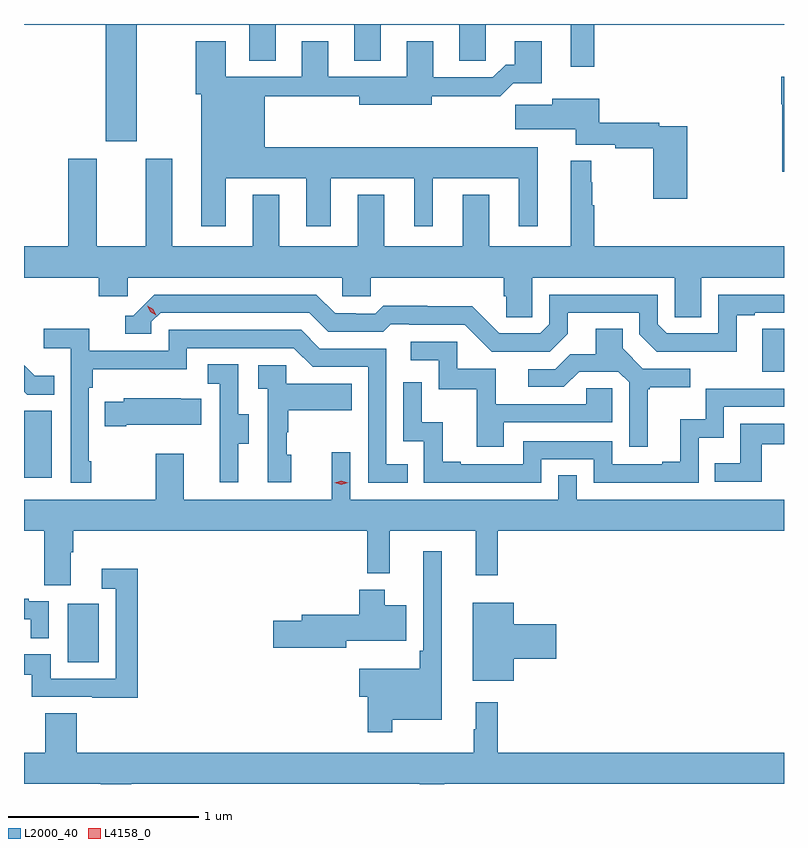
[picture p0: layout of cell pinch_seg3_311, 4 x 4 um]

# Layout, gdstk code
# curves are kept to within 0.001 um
import gdstk
lib = gdstk.Library(unit=1e-6, precision=1e-09)
def R(c, l, rs):  # rectangles x0, y0, x1, y1
    for r in rs: c.add(gdstk.rectangle(r[:2], r[2:], *l))
def P(c, l, *ps):  # polygons
    for p in ps: c.add(gdstk.Polygon(p, *l))
L2000_40 = (2000, 40)
L4158_0 = (4158, 0)

pinch_seg3_311 = lib.new_cell('pinch_seg3_311')
R(pinch_seg3_311, L2000_40, [(993.422,706.884,993.586,707.191), (993.193,707.856,993.34,708.207), (997.079,708.414,997.193,708.638)])
P(pinch_seg3_311, L2000_40, [(993.787,710.24),(994.379,710.24),(994.379,710.05),(994.519,710.05),(994.519,710.24),(994.931,710.24),(994.931,710.05),(995.071,710.05),(995.071,710.24),(995.483,710.24),(995.483,710.05),(995.622,710.05),(995.622,710.24),(996.071,710.24),(996.071,710.019),(996.193,710.019),(996.193,710.24),(997.193,710.24),(997.193,710.243),(993.193,710.243),(993.193,710.24),(993.623,710.24),(993.623,709.626),(993.787,709.626)],
  [(994.255,709.43),(994.679,709.43),(994.679,709.179),(994.807,709.179),(994.807,709.43),(995.246,709.43),(995.246,709.179),(995.344,709.179),(995.344,709.43),(995.798,709.43),(995.798,709.179),(995.896,709.179),(995.896,709.594),(994.459,709.594),(994.459,709.864),(994.958,709.864),(994.958,709.817),(995.338,709.817),(995.338,709.862),(995.699,709.862),(995.768,709.931),(995.917,709.931),(995.917,710.152),(995.777,710.152),(995.777,710.029),(995.728,710.029),(995.661,709.962),(995.347,709.962),(995.347,710.152),(995.207,710.152),(995.207,709.965),(994.795,709.965),(994.795,710.152),(994.655,710.152),(994.655,709.965),(994.255,709.965),(994.255,710.152),(994.096,710.152),(994.096,709.872),(994.127,709.872),(994.127,709.179),(994.255,709.179)],
  [(997.193,709.965),(997.178,709.965),(997.178,709.821),(997.184,709.821),(997.184,709.466),(997.193,709.466)],
  [(996.683,709.704),(996.536,709.704),(996.536,709.724),(996.221,709.724),(996.221,709.849),(995.972,709.849),(995.972,709.817),(995.778,709.817),(995.778,709.688),(996.098,709.688),(996.098,709.608),(996.304,709.608),(996.304,709.588),(996.505,709.588),(996.505,709.323),(996.683,709.323)],
  [(995.868,708.908),(996.618,708.908),(996.618,708.7),(996.757,708.7),(996.757,708.908),(997.193,708.908),(997.193,709.072),(996.193,709.072),(996.193,709.289),(996.185,709.289),(996.185,709.409),(996.178,709.409),(996.178,709.522),(996.071,709.522),(996.071,709.072),(995.641,709.072),(995.641,709.345),(995.501,709.345),(995.501,709.072),(995.089,709.072),(995.089,709.345),(994.949,709.345),(994.949,709.072),(994.537,709.072),(994.537,709.345),(994.397,709.345),(994.397,709.072),(993.973,709.072),(993.973,709.534),(993.833,709.534),(993.833,709.072),(993.577,709.072),(993.577,709.534),(993.425,709.534),(993.425,709.072),(993.193,709.072),(993.193,708.908),(993.587,708.908),(993.587,708.81),(993.738,708.81),(993.738,708.908),(994.869,708.908),(994.869,708.81),(995.019,708.81),(995.019,708.908),(995.717,708.908),(995.717,708.81),(995.731,708.81),(995.731,708.7),(995.868,708.7)],
  [(996.943,708.711),(997.039,708.711),(997.039,708.723),(997.193,708.723),(997.193,708.819),(996.846,708.819),(996.846,708.615),(996.576,708.615),(996.528,708.663),(996.528,708.819),(995.958,708.819),(995.958,708.663),(995.91,708.615),(995.694,708.615),(995.552,708.757),(995.316,708.757),(995.316,708.76),(995.083,708.76),(995.041,708.717),(994.938,708.717),(994.938,708.72),(994.831,708.72),(994.732,708.819),(993.879,708.819),(993.768,708.708),(993.725,708.708),(993.725,708.612),(993.864,708.612),(993.864,708.675),(993.912,708.723),(994.695,708.723),(994.794,708.624),(995.083,708.624),(995.122,708.663),(995.221,708.663),(995.221,708.66),(995.514,708.66),(995.655,708.519),(995.961,708.519),(996.055,708.613),(996.055,708.723),(996.432,708.723),(996.432,708.609),(996.522,708.519),(996.943,708.518)],
  [(993.547,707.941),(993.534,707.941),(993.534,708.329),(993.554,708.329),(993.554,708.425),(994.05,708.425),(994.05,708.537),(994.614,708.537),(994.713,708.438),(995.004,708.438),(995.004,707.829),(995.213,707.829),(995.213,707.925),(995.1,707.925),(995.1,708.534),(994.75,708.534),(994.651,708.633),(993.954,708.633),(993.954,708.522),(993.536,708.522),(993.536,708.638),(993.297,708.638),(993.297,708.536),(993.438,708.536),(993.438,707.829),(993.547,707.829)],
  [(996.475,708.321),(996.487,708.321),(996.487,708.332),(996.7,708.332),(996.7,708.429),(996.45,708.429),(996.343,708.536),(996.343,708.638),(996.203,708.638),(996.203,708.506),(996.068,708.506),(995.988,708.426),(995.847,708.426),(995.847,708.333),(996.034,708.333),(996.115,708.414),(996.321,708.414),(996.378,708.357),(996.378,708.018),(996.475,708.018)],
  [(995.719,708.147),(996.288,708.147),(996.288,708.327),(996.151,708.327),(996.151,708.243),(995.677,708.243),(995.677,708.429),(995.472,708.429),(995.472,708.57),(995.229,708.57),(995.229,708.474),(995.376,708.474),(995.376,708.321),(995.575,708.321),(995.575,708.018),(995.719,708.018)],
  [(994.321,708.034),(994.375,708.034),(994.375,708.189),(994.32,708.189),(994.32,708.452),(994.161,708.452),(994.161,708.349),(994.224,708.349),(994.224,708.045),(994.223,708.045),(994.223,707.832),(994.321,707.832)],
  [(994.6,707.976),(994.575,707.976),(994.575,708.095),(994.585,708.095),(994.585,708.209),(994.919,708.209),(994.919,708.349),(994.572,708.349),(994.572,708.447),(994.425,708.447),(994.425,708.323),(994.476,708.323),(994.476,707.832),(994.6,707.832)],
  [(993.353,708.391),(993.249,708.391),(993.193,708.447),(993.193,708.308),(993.209,708.292),(993.353,708.292)],
  [(995.916,707.952),(996.192,707.952),(996.192,707.829),(996.744,707.829),(996.744,708.065),(996.876,708.065),(996.876,708.228),(997.193,708.228),(997.193,708.324),(996.78,708.324),(996.78,708.163),(996.647,708.163),(996.647,707.938),(996.551,707.938),(996.551,707.925),(996.288,707.925),(996.288,708.048),(995.82,708.048),(995.82,707.925),(995.491,707.925),(995.491,707.938),(995.396,707.938),(995.396,708.146),(995.286,708.146),(995.286,708.358),(995.19,708.358),(995.19,708.048),(995.298,708.048),(995.298,707.829),(995.916,707.829)],
  [(993.73,708.134),(994.127,708.134),(994.127,708.271),(994.019,708.271),(994.019,708.274),(993.717,708.274),(993.717,708.256),(993.619,708.256),(993.619,708.127),(993.73,708.127)],
  [(997.075,708.03),(997.193,708.03),(997.193,708.138),(996.964,708.138),(996.964,707.932),(996.829,707.932),(996.829,707.835),(997.075,707.835)],
  [(993.439,707.464),(993.452,707.464),(993.452,707.576),(994.999,707.576),(994.999,707.351),(995.117,707.351),(995.117,707.576),(995.57,707.576),(995.57,707.343),(995.687,707.343),(995.687,707.576),(997.193,707.576),(997.193,707.74),(996.102,707.74),(996.102,707.867),(996.006,707.867),(996.006,707.74),(994.911,707.74),(994.911,707.989),(994.814,707.989),(994.814,707.74),(994.033,707.74),(994.033,707.98),(993.886,707.98),(993.886,707.74),(993.193,707.74),(993.193,707.576),(993.299,707.576),(993.299,707.29),(993.439,707.29)],
  [(995.131,706.58),(995.392,706.58),(995.392,707.467),(995.295,707.467),(995.295,706.945),(995.275,706.945),(995.275,706.849),(994.958,706.849),(994.958,706.702),(995.002,706.702),(995.002,706.515),(995.131,706.515)],
  [(993.791,707.377),(993.603,707.377),(993.603,707.271),(993.675,707.271),(993.675,706.797),(993.333,706.797),(993.333,706.926),(993.193,706.926),(993.193,706.818),(993.235,706.818),(993.235,706.701),(993.553,706.701),(993.553,706.696),(993.791,706.696)],
  [(994.89,706.997),(995.206,706.997),(995.206,707.185),(995.092,707.185),(995.092,707.266),(994.958,707.266),(994.958,707.133),(994.655,707.133),(994.655,707.103),(994.506,707.103),(994.506,706.961),(994.89,706.961)],
  [(993.324,707.205),(993.218,707.205),(993.218,707.218),(993.193,707.218),(993.193,707.109),(993.229,707.109),(993.229,707.011),(993.324,707.011)],
  [(995.77,706.901),(995.995,706.901),(995.995,707.084),(995.77,707.084),(995.77,707.197),(995.555,707.197),(995.555,706.787),(995.77,706.787)],
  [(993.758,706.244),(995.275,706.244),(995.275,706.243),(995.404,706.243),(995.404,706.244),(997.193,706.244),(997.193,706.408),(995.687,706.408),(995.687,706.672),(995.57,706.672),(995.57,706.532),(995.559,706.532),(995.559,706.408),(993.47,706.408),(993.47,706.616),(993.305,706.616),(993.305,706.408),(993.193,706.408),(993.193,706.244),(993.598,706.244),(993.598,706.243),(993.758,706.243)])
P(pinch_seg3_311, L4158_0, [(994.864,707.819),(994.829,707.828),(994.828,707.829),(994.829,707.829),(994.864,707.839),(994.899,707.829),(994.9,707.829),(994.899,707.828)],
  [(993.888,708.709),(993.857,708.728),(993.841,708.761),(993.841,708.761),(993.841,708.761),(993.872,708.742),(993.888,708.709),(993.888,708.709)])

lib.write_gds('pinch_seg3_311.gds')
